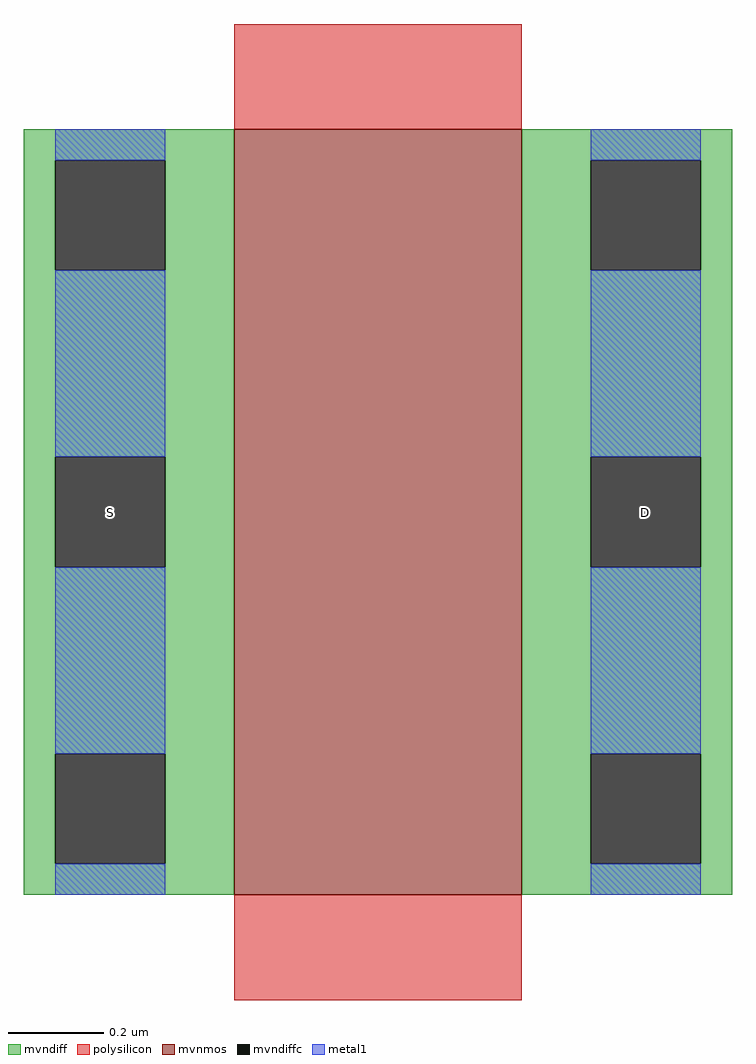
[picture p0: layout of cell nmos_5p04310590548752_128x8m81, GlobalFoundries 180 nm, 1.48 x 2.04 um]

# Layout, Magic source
magic
tech gf180mcuC
magscale 1 10
<< mvnmos >>
rect 0 0 120 320
<< mvndiff >>
rect -88 307 0 320
rect -88 261 -75 307
rect -29 261 0 307
rect -88 183 0 261
rect -88 137 -75 183
rect -29 137 0 183
rect -88 59 0 137
rect -88 13 -75 59
rect -29 13 0 59
rect -88 0 0 13
rect 120 307 208 320
rect 120 261 149 307
rect 195 261 208 307
rect 120 183 208 261
rect 120 137 149 183
rect 195 137 208 183
rect 120 59 208 137
rect 120 13 149 59
rect 195 13 208 59
rect 120 0 208 13
<< mvndiffc >>
rect -75 261 -29 307
rect -75 137 -29 183
rect -75 13 -29 59
rect 149 261 195 307
rect 149 137 195 183
rect 149 13 195 59
<< polysilicon >>
rect 0 320 120 364
rect 0 -44 120 0
<< metal1 >>
rect -75 307 -29 320
rect -75 183 -29 261
rect -75 59 -29 137
rect -75 0 -29 13
rect 149 307 195 320
rect 149 183 195 261
rect 149 59 195 137
rect 149 0 195 13
<< labels >>
flabel metal1 s -52 160 -52 160 0 FreeSans 200 0 0 0 S
flabel metal1 s 172 160 172 160 0 FreeSans 200 0 0 0 D
<< properties >>
string GDS_END 241946
string GDS_FILE $PDKPATH/libs.ref/gf180mcu_fd_ip_sram/gds/gf180mcu_fd_ip_sram__sram128x8m8wm1.gds
string GDS_START 240666
<< end >>
